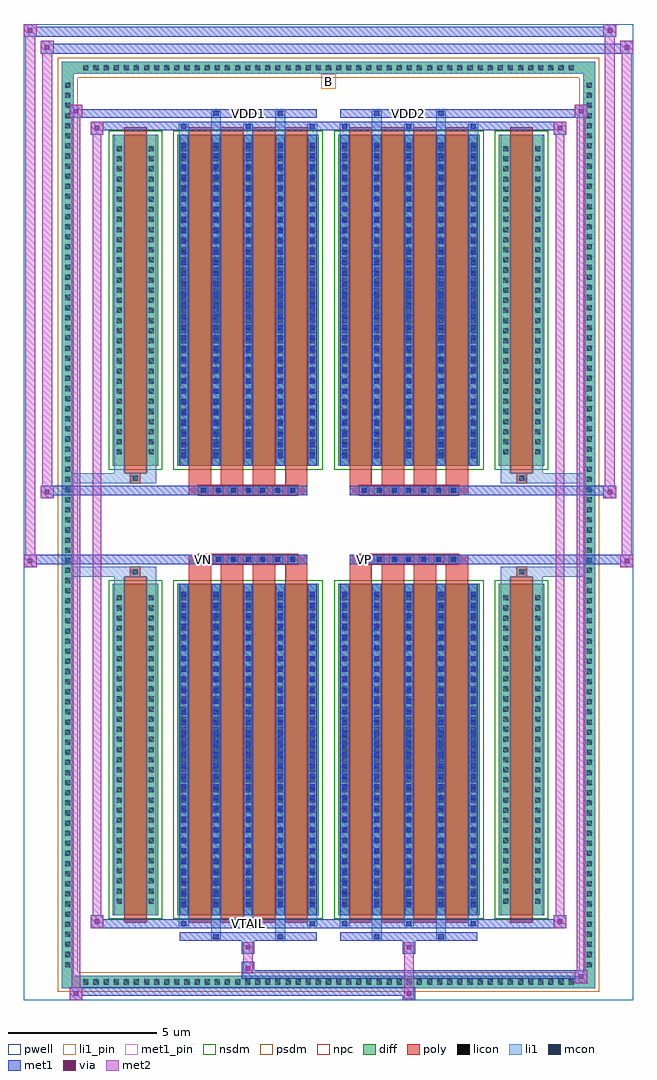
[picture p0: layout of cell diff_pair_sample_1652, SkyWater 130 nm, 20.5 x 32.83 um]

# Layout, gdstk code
import gdstk
lib = gdstk.Library(unit=1e-6, precision=5e-09)
def R(c, l, rs):  # rectangles x0, y0, x1, y1
    for r in rs: c.add(gdstk.rectangle(r[:2], r[2:], *l))
def A(c, l, x, y, w, h, nx, ny, dx, dy):  # array of equal rectangles
    R(c, l, [(x+i*dx, y+j*dy, x+i*dx+w, y+j*dy+h) for i in range(nx) for j in range(ny)])
def P(c, l, *ps):  # polygons
    for p in ps: c.add(gdstk.Polygon(p, *l))
pwell = (64, 44)
diff = (65, 20)
poly = (66, 20)
licon = (66, 44)
li1_pin = (67, 16)
li1 = (67, 20)
mcon = (67, 44)
met1_pin = (68, 16)
met1 = (68, 20)
via = (68, 44)
met2 = (69, 20)
nsdm = (93, 44)
psdm = (94, 20)
npc = (95, 20)

diff_pair_sample_1652 = lib.new_cell('diff_pair_sample_1652')
R(diff_pair_sample_1652, pwell, [(-10.25,-15.98,10.25,16.85), (-7.57,-14.17,-0.01,-0.795), (0.01,-14.17,7.57,-0.795), (-7.57,0.795,-0.01,14.17), (0.01,0.795,7.57,14.17)])
A(diff_pair_sample_1652, diff, -8.365, -15.58, 0.41, 0.41, 49, 2, 0.34, 30.75)
A(diff_pair_sample_1652, diff, -8.98, -14.995, 0.41, 0.41, 1, 88, 0, 0.34)
A(diff_pair_sample_1652, diff, 8.57, -14.995, 0.41, 0.41, 1, 88, 0, 0.34)
R(diff_pair_sample_1652, diff, [(-8.365,-15.58,8.365,-15.17), (-8.98,-14.995,-8.57,14.995), (8.57,-14.995,8.98,14.995), (-7.26,-13.125,-5.73,-1.985), (-5.09,-13.125,-0.32,-1.985), (0.32,-13.125,5.09,-1.985), (5.73,-13.125,7.26,-1.985), (-7.26,1.985,-5.73,13.125), (-5.09,1.985,-0.32,13.125), (0.32,1.985,5.09,13.125), (5.73,1.985,7.26,13.125), (-8.365,15.17,8.365,15.58)])
P(diff_pair_sample_1652, diff, [(8.98,15.58),(-8.98,15.58),(-8.98,-15.17),(-8.57,-15.17),(-8.57,15.17),(8.57,15.17),(8.57,-15.17),(-8.57,-15.17),(-8.98,-15.17),(-8.98,-15.58),(8.98,-15.58)])
A(diff_pair_sample_1652, poly, -4.7, -13.375, 0.75, 11.64, 4, 2, 1.08, 15.11)
A(diff_pair_sample_1652, poly, 0.71, -13.375, 0.75, 11.64, 4, 2, 1.08, 15.11)
A(diff_pair_sample_1652, poly, -4.7, -1.735, 0.75, 0.41, 4, 2, 1.08, 3.06)
A(diff_pair_sample_1652, poly, 0.71, -1.735, 0.75, 0.41, 4, 2, 1.08, 3.06)
A(diff_pair_sample_1652, poly, -4.37, -1.325, 0.33, 0.33, 7, 2, 0.5, 2.32)
A(diff_pair_sample_1652, poly, 1.04, -1.325, 0.33, 0.33, 7, 2, 0.5, 2.32)
R(diff_pair_sample_1652, poly, [(-6.87,-13.375,-6.12,-1.735), (6.12,-13.375,6.87,-1.735), (-6.66,-1.735,-6.33,-1.405), (-6.66,-1.735,-6.33,-1.405), (6.33,-1.735,6.66,-1.405), (6.33,-1.735,6.66,-1.405), (-4.7,-1.325,-0.71,-0.995), (0.71,-1.325,4.7,-0.995), (-4.7,0.995,-0.71,1.325), (0.71,0.995,4.7,1.325), (-6.66,1.405,-6.33,1.735), (-6.66,1.405,-6.33,1.735), (6.33,1.405,6.66,1.735), (6.33,1.405,6.66,1.735), (-6.87,1.735,-6.12,13.375), (6.12,1.735,6.87,13.375)])
A(diff_pair_sample_1652, licon, -8.245, -15.46, 0.17, 0.17, 49, 2, 0.34, 30.75)
A(diff_pair_sample_1652, licon, -8.86, -14.875, 0.17, 0.17, 1, 88, 0, 0.34)
A(diff_pair_sample_1652, licon, 8.69, -14.875, 0.17, 0.17, 1, 88, 0, 0.34)
A(diff_pair_sample_1652, licon, -7.12, -12.74, 0.17, 0.17, 1, 31, 0, 0.34)
A(diff_pair_sample_1652, licon, -6.04, -12.74, 0.17, 0.17, 1, 31, 0, 0.34)
A(diff_pair_sample_1652, licon, -4.95, -12.74, 0.17, 0.17, 5, 31, 1.08, 0.34)
A(diff_pair_sample_1652, licon, 0.46, -12.74, 0.17, 0.17, 5, 31, 1.08, 0.34)
A(diff_pair_sample_1652, licon, 5.87, -12.74, 0.17, 0.17, 1, 31, 0, 0.34)
A(diff_pair_sample_1652, licon, 6.95, -12.74, 0.17, 0.17, 1, 31, 0, 0.34)
A(diff_pair_sample_1652, licon, -4.29, -1.245, 0.17, 0.17, 7, 2, 0.5, 2.32)
A(diff_pair_sample_1652, licon, 1.12, -1.245, 0.17, 0.17, 7, 2, 0.5, 2.32)
A(diff_pair_sample_1652, licon, -7.12, 2.37, 0.17, 0.17, 1, 31, 0, 0.34)
A(diff_pair_sample_1652, licon, -6.04, 2.37, 0.17, 0.17, 1, 31, 0, 0.34)
A(diff_pair_sample_1652, licon, -4.95, 2.37, 0.17, 0.17, 5, 31, 1.08, 0.34)
A(diff_pair_sample_1652, licon, 0.46, 2.37, 0.17, 0.17, 5, 31, 1.08, 0.34)
A(diff_pair_sample_1652, licon, 5.87, 2.37, 0.17, 0.17, 1, 31, 0, 0.34)
A(diff_pair_sample_1652, licon, 6.95, 2.37, 0.17, 0.17, 1, 31, 0, 0.34)
R(diff_pair_sample_1652, licon, [(-6.58,-1.655,-6.41,-1.485), (6.41,-1.655,6.58,-1.485), (-6.58,1.485,-6.41,1.655), (6.41,1.485,6.58,1.655)])
R(diff_pair_sample_1652, li1_pin, [(-0.25,14.67,0.25,15.17)])
A(diff_pair_sample_1652, li1, -8.325, -15.54, 0.33, 0.33, 49, 2, 0.34, 30.75)
A(diff_pair_sample_1652, li1, -8.94, -14.955, 0.33, 0.33, 1, 88, 0, 0.34)
A(diff_pair_sample_1652, li1, 8.61, -14.955, 0.33, 0.33, 1, 88, 0, 0.34)
A(diff_pair_sample_1652, li1, -5.03, -13.5, 0.33, 0.375, 3, 2, 2.16, 26.625)
A(diff_pair_sample_1652, li1, -4.95, -13.5, 0.17, 0.17, 3, 2, 2.16, 26.83)
A(diff_pair_sample_1652, li1, 0.38, -13.5, 0.33, 0.375, 3, 2, 2.16, 26.625)
A(diff_pair_sample_1652, li1, 0.46, -13.5, 0.17, 0.17, 3, 2, 2.16, 26.83)
A(diff_pair_sample_1652, li1, -5.03, -13.125, 0.33, 11.14, 5, 2, 1.08, 15.11)
A(diff_pair_sample_1652, li1, 0.38, -13.125, 0.33, 11.14, 5, 2, 1.08, 15.11)
A(diff_pair_sample_1652, li1, -4.95, -12.86, 0.17, 0.17, 5, 30, 1.08, 0.36)
A(diff_pair_sample_1652, li1, -4.95, -12.86, 0.17, 10.61, 5, 2, 1.08, 15.11)
A(diff_pair_sample_1652, li1, 0.46, -12.86, 0.17, 0.17, 5, 30, 1.08, 0.36)
A(diff_pair_sample_1652, li1, 0.46, -12.86, 0.17, 10.61, 5, 2, 1.08, 15.11)
A(diff_pair_sample_1652, li1, -7.2, -12.82, 0.33, 0.33, 1, 31, 0, 0.34)
A(diff_pair_sample_1652, li1, -6.12, -12.82, 0.33, 0.33, 1, 31, 0, 0.34)
A(diff_pair_sample_1652, li1, -5.03, -12.82, 0.33, 0.33, 5, 31, 1.08, 0.34)
A(diff_pair_sample_1652, li1, 0.38, -12.82, 0.33, 0.33, 5, 31, 1.08, 0.34)
A(diff_pair_sample_1652, li1, 5.79, -12.82, 0.33, 0.33, 1, 31, 0, 0.34)
A(diff_pair_sample_1652, li1, 6.87, -12.82, 0.33, 0.33, 1, 31, 0, 0.34)
A(diff_pair_sample_1652, li1, -4.37, -1.325, 0.33, 0.33, 7, 2, 0.5, 2.32)
A(diff_pair_sample_1652, li1, 1.04, -1.325, 0.33, 0.33, 7, 2, 0.5, 2.32)
A(diff_pair_sample_1652, li1, -4.95, 2.25, 0.17, 0.17, 5, 30, 1.08, 0.36)
A(diff_pair_sample_1652, li1, 0.46, 2.25, 0.17, 0.17, 5, 30, 1.08, 0.36)
A(diff_pair_sample_1652, li1, -7.2, 2.29, 0.33, 0.33, 1, 31, 0, 0.34)
A(diff_pair_sample_1652, li1, -6.12, 2.29, 0.33, 0.33, 1, 31, 0, 0.34)
A(diff_pair_sample_1652, li1, -5.03, 2.29, 0.33, 0.33, 5, 31, 1.08, 0.34)
A(diff_pair_sample_1652, li1, 0.38, 2.29, 0.33, 0.33, 5, 31, 1.08, 0.34)
A(diff_pair_sample_1652, li1, 5.79, 2.29, 0.33, 0.33, 1, 31, 0, 0.34)
A(diff_pair_sample_1652, li1, 6.87, 2.29, 0.33, 0.33, 1, 31, 0, 0.34)
R(diff_pair_sample_1652, li1, [(-8.98,-15.58,-8.57,-15.17), (-8.98,-15.58,-8.57,-15.17), (-8.57,-15.58,8.57,-15.17), (8.57,-15.58,8.98,-15.17), (8.57,-15.58,8.98,-15.17), (-8.98,-15.17,-8.57,15.17), (8.57,-15.17,8.98,15.17), (-3.95,-13.93,-3.62,-13.125), (-3.87,-13.93,-3.7,-13.76), (-1.79,-13.93,-1.46,-13.125), (-1.71,-13.93,-1.54,-13.76), (1.46,-13.93,1.79,-13.125), (1.54,-13.93,1.71,-13.76), (3.62,-13.93,3.95,-13.125), (3.7,-13.93,3.87,-13.76), (-7.2,-13.125,-6.87,-1.985), (-6.12,-13.125,-5.79,-1.985), (5.79,-13.125,6.12,-1.985), (6.87,-13.125,7.2,-1.985), (-7.2,-1.985,-6.87,-1.405), (-6.12,-1.985,-5.79,-1.405), (5.79,-1.985,6.12,-1.405), (6.87,-1.985,7.2,-1.405), (-8.98,-1.735,-6.66,-1.405), (-7.2,-1.735,-6.66,-1.405), (-6.66,-1.735,-6.33,-1.405), (-6.33,-1.735,-5.79,-1.405), (5.79,-1.735,6.33,-1.405), (6.33,-1.735,6.66,-1.405), (6.33,-1.735,8.98,-1.405), (6.66,-1.735,7.2,-1.405), (-8.98,1.405,-6.66,1.735), (-7.2,1.405,-6.66,1.735), (-7.2,1.405,-6.87,1.985), (-6.66,1.405,-6.33,1.735), (-6.33,1.405,-5.79,1.735), (-6.12,1.405,-5.79,1.985), (5.79,1.405,6.33,1.735), (5.79,1.405,6.12,1.985), (6.33,1.405,6.66,1.735), (6.33,1.405,8.98,1.735), (6.66,1.405,7.2,1.735), (6.87,1.405,7.2,1.985), (-7.2,1.985,-6.87,13.125), (-6.12,1.985,-5.79,13.125), (5.79,1.985,6.12,13.125), (6.87,1.985,7.2,13.125), (-3.95,13.125,-3.62,13.93), (-1.79,13.125,-1.46,13.93), (1.46,13.125,1.79,13.93), (3.62,13.125,3.95,13.93), (-3.87,13.76,-3.7,13.93), (-1.71,13.76,-1.54,13.93), (1.54,13.76,1.71,13.93), (3.7,13.76,3.87,13.93), (-8.98,15.17,-8.57,15.58), (-8.98,15.17,-8.57,15.58), (-8.57,15.17,8.57,15.58), (8.57,15.17,8.98,15.58), (8.57,15.17,8.98,15.58)])
A(diff_pair_sample_1652, mcon, -4.95, -13.5, 0.17, 0.17, 3, 2, 2.16, 26.83)
A(diff_pair_sample_1652, mcon, 0.46, -13.5, 0.17, 0.17, 3, 2, 2.16, 26.83)
A(diff_pair_sample_1652, mcon, -4.95, -12.86, 0.17, 0.17, 5, 30, 1.08, 0.36)
A(diff_pair_sample_1652, mcon, 0.46, -12.86, 0.17, 0.17, 5, 30, 1.08, 0.36)
A(diff_pair_sample_1652, mcon, -4.29, -1.245, 0.17, 0.17, 7, 2, 0.5, 2.32)
A(diff_pair_sample_1652, mcon, 1.12, -1.245, 0.17, 0.17, 7, 2, 0.5, 2.32)
A(diff_pair_sample_1652, mcon, -4.95, 2.25, 0.17, 0.17, 5, 30, 1.08, 0.36)
A(diff_pair_sample_1652, mcon, 0.46, 2.25, 0.17, 0.17, 5, 30, 1.08, 0.36)
R(diff_pair_sample_1652, mcon, [(-3.87,-13.93,-3.7,-13.76), (-1.71,-13.93,-1.54,-13.76), (1.54,-13.93,1.71,-13.76), (3.7,-13.93,3.87,-13.76), (-3.87,13.76,-3.7,13.93), (-1.71,13.76,-1.54,13.93), (1.54,13.76,1.71,13.93), (3.7,13.76,3.87,13.93)])
R(diff_pair_sample_1652, met1_pin, [(-2.84,-13.54,-2.57,-13.27), (-4.34,-1.285,-4.07,-1.015), (1.07,-1.285,1.34,-1.015), (-2.84,13.72,-2.57,13.99), (2.57,13.72,2.84,13.99)])
A(diff_pair_sample_1652, met1, -5.01, -13.56, 0.29, 0.29, 3, 2, 2.16, 26.83)
A(diff_pair_sample_1652, met1, 0.4, -13.56, 0.29, 0.29, 3, 2, 2.16, 26.83)
A(diff_pair_sample_1652, met1, -5.01, -13.125, 0.29, 11.14, 5, 2, 1.08, 15.11)
A(diff_pair_sample_1652, met1, 0.4, -13.125, 0.29, 11.14, 5, 2, 1.08, 15.11)
A(diff_pair_sample_1652, met1, -5.01, -12.92, 0.29, 0.29, 5, 30, 1.08, 0.36)
A(diff_pair_sample_1652, met1, 0.4, -12.92, 0.29, 0.29, 5, 30, 1.08, 0.36)
A(diff_pair_sample_1652, met1, -4.35, -1.305, 0.29, 0.29, 7, 2, 0.5, 2.32)
A(diff_pair_sample_1652, met1, 1.06, -1.305, 0.29, 0.29, 7, 2, 0.5, 2.32)
A(diff_pair_sample_1652, met1, -5.01, 2.19, 0.29, 0.29, 5, 30, 1.08, 0.36)
A(diff_pair_sample_1652, met1, 0.4, 2.19, 0.29, 0.29, 5, 30, 1.08, 0.36)
R(diff_pair_sample_1652, met1, [(-8.71,-15.98,-8.28,-15.55), (2.49,-15.98,2.92,-15.55), (-8.71,-15.84,2.92,-15.55), (8.28,-15.41,8.71,-14.98), (-2.92,-15.27,8.71,-14.98), (-2.92,-15.13,-2.49,-14.7), (-2.92,-14.42,-2.49,-13.99), (2.49,-14.42,2.92,-13.99), (-5.01,-13.99,-0.4,-13.7), (-3.93,-13.99,-3.64,-13.7), (-1.77,-13.99,-1.48,-13.7), (0.4,-13.99,5.01,-13.7), (1.48,-13.99,1.77,-13.7), (3.64,-13.99,3.93,-13.7), (-8,-13.56,-7.57,-13.13), (-8,-13.56,-5.01,-13.27), (-5.01,-13.56,-0.4,-13.27), (-0.4,-13.56,0.4,-13.27), (0.4,-13.56,5.01,-13.27), (5.01,-13.56,8,-13.27), (7.57,-13.56,8,-13.13), (-10.25,-1.425,-9.82,-0.995), (9.82,-1.425,10.25,-0.995), (-10.25,-1.325,-0.71,-0.995), (-4.7,-1.325,-0.71,-0.995), (0.71,-1.325,4.7,-0.995), (0.71,-1.325,10.25,-0.995), (-9.68,0.895,-9.25,1.325), (9.25,0.895,9.68,1.325), (-9.68,0.995,-4.7,1.325), (-4.7,0.995,-0.71,1.325), (0.71,0.995,4.7,1.325), (4.7,0.995,9.68,1.325), (-8,13.13,-7.57,13.56), (7.57,13.13,8,13.56), (-8,13.27,-5.01,13.56), (-5.01,13.27,-0.4,13.56), (-0.4,13.27,0.4,13.56), (0.4,13.27,5.01,13.56), (5.01,13.27,8,13.56), (-8.71,13.7,-8.28,14.13), (-8.71,13.7,-5.01,13.99), (-5.01,13.7,-0.4,13.99), (-3.93,13.7,-3.64,13.99), (-1.77,13.7,-1.48,13.99), (0.4,13.7,5.01,13.99), (1.48,13.7,1.77,13.99), (3.64,13.7,3.93,13.99), (5.01,13.7,8.71,13.99), (8.28,13.7,8.71,14.13), (-9.68,15.85,-9.25,16.28), (-9.68,15.85,-7.57,16.18), (-7.57,15.85,7.57,16.18), (7.57,15.85,10.25,16.18), (9.82,15.85,10.25,16.28), (-10.25,16.42,-9.82,16.85), (-10.25,16.42,-7.57,16.75), (-7.57,16.42,7.57,16.75), (7.57,16.42,9.68,16.75), (9.25,16.42,9.68,16.85)])
R(diff_pair_sample_1652, via, [(-8.57,-15.84,-8.42,-15.69), (2.63,-15.84,2.78,-15.69), (8.42,-15.27,8.57,-15.12), (-2.78,-14.99,-2.63,-14.84), (-2.78,-14.28,-2.63,-14.13), (2.63,-14.28,2.78,-14.13), (-7.86,-13.42,-7.71,-13.27), (7.71,-13.42,7.86,-13.27), (-10.11,-1.285,-9.96,-1.135), (9.96,-1.285,10.11,-1.135), (-9.54,1.035,-9.39,1.185), (9.39,1.035,9.54,1.185), (-7.86,13.27,-7.71,13.42), (7.71,13.27,7.86,13.42), (-8.57,13.84,-8.42,13.99), (8.42,13.84,8.57,13.99), (-9.54,15.99,-9.39,16.14), (9.96,15.99,10.11,16.14), (-10.11,16.56,-9.96,16.71), (9.39,16.56,9.54,16.71)])
R(diff_pair_sample_1652, met2, [(-8.71,-15.98,-8.28,-15.55), (-8.64,-15.98,-8.35,14.13), (-8.35,-15.98,-8.28,-15.55), (-8.66,-15.93,-8.33,-15.6), (2.54,-15.93,2.87,-15.6), (2.54,-15.6,2.87,-14.37), (8.28,-15.41,8.71,-14.98), (8.35,-15.41,8.64,14.13), (8.64,-15.41,8.71,-14.98), (8.33,-15.36,8.66,-15.03), (-2.87,-15.08,-2.54,-14.75), (-2.87,-14.75,-2.54,-14.37), (-2.87,-14.37,-2.54,-14.04), (2.54,-14.37,2.87,-14.04), (-8,-13.56,-7.57,-13.13), (-7.93,-13.56,-7.64,13.56), (-7.64,-13.56,-7.57,-13.13), (7.57,-13.56,8,-13.13), (7.64,-13.56,7.93,13.56), (7.93,-13.56,8,-13.13), (-7.95,-13.51,-7.62,-13.18), (7.62,-13.51,7.95,-13.18), (-10.25,-1.425,-9.82,-0.995), (-10.2,-1.425,-9.87,16.85), (-9.87,-1.425,-9.82,-0.995), (9.82,-1.425,10.25,-0.995), (9.87,-1.425,10.2,16.28), (10.2,-1.425,10.25,-0.995), (-10.2,-1.375,-9.87,-1.045), (9.87,-1.375,10.2,-1.045), (-9.68,0.895,-9.25,1.325), (-9.63,0.895,-9.3,16.28), (-9.3,0.895,-9.25,1.325), (9.25,0.895,9.68,1.325), (9.3,0.895,9.63,16.85), (9.63,0.895,9.68,1.325), (-9.63,0.945,-9.3,1.275), (9.3,0.945,9.63,1.275), (-8,13.13,-7.57,13.56), (-7.64,13.13,-7.57,13.56), (7.57,13.13,8,13.56), (7.93,13.13,8,13.56), (-7.95,13.18,-7.62,13.51), (7.62,13.18,7.95,13.51), (-8.71,13.7,-8.28,14.13), (-8.35,13.7,-8.28,14.13), (8.28,13.7,8.71,14.13), (8.64,13.7,8.71,14.13), (-8.66,13.75,-8.33,14.08), (8.33,13.75,8.66,14.08), (-9.68,15.85,-9.25,16.28), (-9.3,15.85,-9.25,16.28), (9.82,15.85,10.25,16.28), (10.2,15.85,10.25,16.28), (-9.63,15.9,-9.3,16.23), (9.87,15.9,10.2,16.23), (-10.25,16.42,-9.82,16.85), (-9.87,16.42,-9.82,16.85), (9.25,16.42,9.68,16.85), (9.63,16.42,9.68,16.85), (-10.2,16.47,-9.87,16.8), (9.3,16.47,9.63,16.8)])
R(diff_pair_sample_1652, nsdm, [(-7.39,-13.255,-5.6,-1.855), (-5.22,-13.255,-0.19,-1.855), (0.19,-13.255,5.22,-1.855), (5.6,-13.255,7.39,-1.855), (-7.39,1.855,-5.6,13.255), (-5.22,1.855,-0.19,13.255), (0.19,1.855,5.22,13.255), (5.6,1.855,7.39,13.255)])
P(diff_pair_sample_1652, psdm, [(9.11,15.71),(-9.11,15.71),(-9.11,-15.04),(-8.44,-15.04),(-8.44,15.04),(8.44,15.04),(8.44,-15.04),(-8.44,-15.04),(-9.11,-15.04),(-9.11,-15.71),(9.11,-15.71)])
A(diff_pair_sample_1652, npc, -4.39, -1.345, 0.37, 0.37, 7, 2, 0.5, 2.32)
A(diff_pair_sample_1652, npc, 1.02, -1.345, 0.37, 0.37, 7, 2, 0.5, 2.32)
R(diff_pair_sample_1652, npc, [(-6.68,-1.755,-6.31,-1.385), (6.31,-1.755,6.68,-1.385), (-4.39,-1.345,-3.52,-0.975), (-4.39,-1.345,-3.52,-0.975), (-3.89,-1.345,-3.02,-0.975), (-3.89,-1.345,-3.02,-0.975), (-3.39,-1.345,-2.52,-0.975), (-3.39,-1.345,-2.52,-0.975), (-2.89,-1.345,-2.02,-0.975), (-2.89,-1.345,-2.02,-0.975), (-2.39,-1.345,-1.52,-0.975), (-2.39,-1.345,-1.52,-0.975), (-1.89,-1.345,-1.02,-0.975), (-1.89,-1.345,-1.02,-0.975), (1.02,-1.345,1.89,-0.975), (1.02,-1.345,1.89,-0.975), (1.52,-1.345,2.39,-0.975), (1.52,-1.345,2.39,-0.975), (2.02,-1.345,2.89,-0.975), (2.02,-1.345,2.89,-0.975), (2.52,-1.345,3.39,-0.975), (2.52,-1.345,3.39,-0.975), (3.02,-1.345,3.89,-0.975), (3.02,-1.345,3.89,-0.975), (3.52,-1.345,4.39,-0.975), (3.52,-1.345,4.39,-0.975), (-4.39,0.975,-3.52,1.345), (-4.39,0.975,-3.52,1.345), (-3.89,0.975,-3.02,1.345), (-3.89,0.975,-3.02,1.345), (-3.39,0.975,-2.52,1.345), (-3.39,0.975,-2.52,1.345), (-2.89,0.975,-2.02,1.345), (-2.89,0.975,-2.02,1.345), (-2.39,0.975,-1.52,1.345), (-2.39,0.975,-1.52,1.345), (-1.89,0.975,-1.02,1.345), (-1.89,0.975,-1.02,1.345), (1.02,0.975,1.89,1.345), (1.02,0.975,1.89,1.345), (1.52,0.975,2.39,1.345), (1.52,0.975,2.39,1.345), (2.02,0.975,2.89,1.345), (2.02,0.975,2.89,1.345), (2.52,0.975,3.39,1.345), (2.52,0.975,3.39,1.345), (3.02,0.975,3.89,1.345), (3.02,0.975,3.89,1.345), (3.52,0.975,4.39,1.345), (3.52,0.975,4.39,1.345), (-6.68,1.385,-6.31,1.755), (6.31,1.385,6.68,1.755)])
diff_pair_sample_1652.add(gdstk.Label('VTAIL', (-2.705,-13.405), layer=68, texttype=5))
diff_pair_sample_1652.add(gdstk.Label('VN', (-4.205,-1.15), layer=68, texttype=5))
diff_pair_sample_1652.add(gdstk.Label('VP', (1.205,-1.15), layer=68, texttype=5))
diff_pair_sample_1652.add(gdstk.Label('B', (0,14.92), layer=67, texttype=5))
diff_pair_sample_1652.add(gdstk.Label('VDD2', (2.705,13.855), layer=68, texttype=5))
diff_pair_sample_1652.add(gdstk.Label('VDD1', (-2.705,13.855), layer=68, texttype=5))

lib.write_gds('diff_pair_sample_1652.gds')
